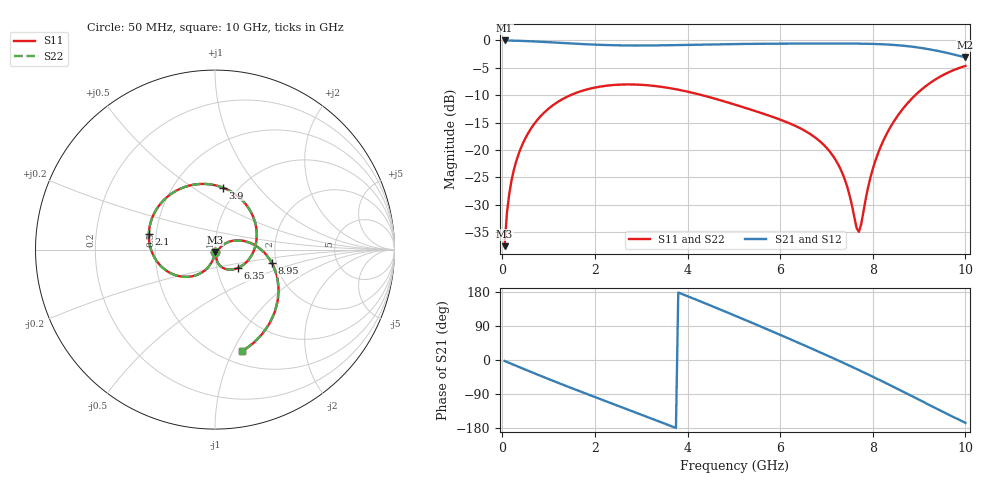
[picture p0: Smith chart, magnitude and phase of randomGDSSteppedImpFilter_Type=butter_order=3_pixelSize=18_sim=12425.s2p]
! freq	dB(S11)	phase(S11)	dB(S12)	phase(S12)
!  dB(S21)	phase(S21)	dB(S22)	phase(S22)
!S-par simulation data
#  GHz  S  DB  R 50
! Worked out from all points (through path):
!   200 points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, 50 MHz to 10 GHz, reference 50 ohm
!   highest |S21| = 0.00 dB at 50 MHz (marker M1); lowest = -3.1 dB at 10 GHz (marker M2)
!   group delay of S21, straight-line fit = 144 ps
!   lowest |S11| = -37.5 dB at 50 MHz (marker M3), VSWR 1.03, Z = 49.9 - j1.33 ohm
!   |S11| at or under -10 dB: start of sweep to 1.468 GHz; 4.32 GHz to 8.916 GHz (4.596 GHz wide, 69.4 % of centre)
!   |S22| runs from -37.5 to -4.6 dB; largest |S21 - S12| = 0
!   S11 on the Smith chart (normalised r, x): 50 MHz: 1.00, -0.03; 2.1 GHz: 0.46, +0.09; 3.9 GHz: 0.85, +0.67; 6.35 GHz: 1.27, -0.26; 8.95 GHz: 1.90, -0.32; 10 GHz: 0.63, -1.09
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0.05  -37.54 -92.4  -0.00 -2.6  -0.00 -2.6  -37.54 -92.4
0.1  -31.51 -95.1  -0.01 -5.2  -0.01 -5.2  -31.51 -95.1
0.2  -25.51 -100.6  -0.03 -10.3  -0.03 -10.3  -25.51 -100.6
0.5  -17.82 -116.1  -0.11 -25.5  -0.11 -25.5  -17.82 -116.1
1.15  -11.48 -148.3  -0.39 -57.6  -0.39 -57.6  -11.48 -148.3
1.75  -9.12 -176.8  -0.67 -86.1  -0.67 -86.1  -9.12 -176.8
2.1  -8.44 167.0  -0.80 -102.4  -0.80 -102.4  -8.44 167.0
2.7  -8.03 139.4  -0.92 -130.0  -0.92 -130.0  -8.03 139.3
3.4  -8.42 106.8  -0.90 -162.7  -0.90 -162.7  -8.42 106.7
3.9  -9.16 82.9  -0.83 173.2  -0.83 173.2  -9.16 82.9
4.45  -10.29 56.1  -0.74 146.1  -0.74 146.1  -10.29 56.1
5.05  -11.78 26.4  -0.66 115.8  -0.66 115.8  -11.78 26.3
5.7  -13.55 -6.0  -0.60 82.2  -0.60 82.2  -13.55 -6.2
6.35  -15.68 -38.2  -0.58 47.9  -0.58 47.9  -15.68 -38.4
6.7  -17.36 -55.2  -0.57 29.1  -0.57 29.1  -17.37 -55.3
7.3  -23.41 -79.5  -0.56 -3.9  -0.56 -3.9  -23.40 -79.3
7.7  -34.93 -21.9  -0.58 -26.6  -0.58 -26.6  -34.68 -22.2
8  -23.46 31.0  -0.63 -44.0  -0.63 -44.0  -23.44 30.3
8.35  -16.27 19.3  -0.76 -65.0  -0.76 -65.0  -16.26 18.8
8.95  -9.73 -13.3  -1.25 -101.9  -1.25 -101.9  -9.73 -13.7
9.5  -6.40 -45.7  -2.08 -135.8  -2.08 -135.8  -6.40 -46.0
10  -4.65 -75.0  -3.09 -165.8  -3.09 -165.8  -4.65 -75.4
